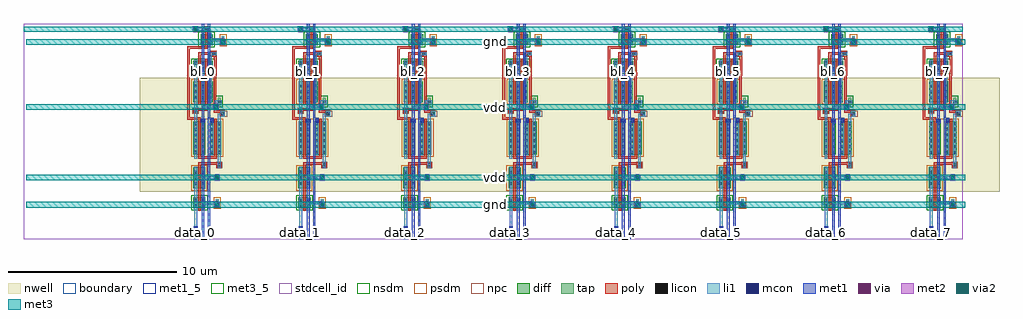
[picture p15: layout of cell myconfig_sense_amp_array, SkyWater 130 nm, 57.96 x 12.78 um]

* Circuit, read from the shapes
.subckt myconfig_sense_amp_array bl_0 bl_1 bl_2 bl_3 bl_4 bl_5 bl_6 bl_7 br_0 br_1 br_2 br_3 br_4 br_5 br_6 br_7 data_0 data_1 data_2 data_3 data_4 data_5 data_6 data_7 en gnd vdd
XM1 n1 n2 n3 gnd sky130_fd_pr__nfet_01v8 w=0.65 l=0.15
XM2 gnd n2 data_0 gnd sky130_fd_pr__nfet_01v8 w=0.65 l=0.15
XM3 n2 n3 n1 gnd sky130_fd_pr__nfet_01v8 w=0.65 l=0.15
XM4 gnd en n1 gnd sky130_fd_pr__nfet_01v8 w=0.65 l=0.15
XM5 n4 n5 n6 gnd sky130_fd_pr__nfet_01v8 w=0.65 l=0.15
XM6 gnd n5 data_1 gnd sky130_fd_pr__nfet_01v8 w=0.65 l=0.15
XM7 n5 n6 n4 gnd sky130_fd_pr__nfet_01v8 w=0.65 l=0.15
XM8 gnd en n4 gnd sky130_fd_pr__nfet_01v8 w=0.65 l=0.15
XM9 n7 n8 n9 gnd sky130_fd_pr__nfet_01v8 w=0.65 l=0.15
XM10 gnd n8 data_2 gnd sky130_fd_pr__nfet_01v8 w=0.65 l=0.15
XM11 n8 n9 n7 gnd sky130_fd_pr__nfet_01v8 w=0.65 l=0.15
XM12 gnd en n7 gnd sky130_fd_pr__nfet_01v8 w=0.65 l=0.15
XM13 n10 n11 n12 gnd sky130_fd_pr__nfet_01v8 w=0.65 l=0.15
XM14 gnd n11 data_3 gnd sky130_fd_pr__nfet_01v8 w=0.65 l=0.15
XM15 n11 n12 n10 gnd sky130_fd_pr__nfet_01v8 w=0.65 l=0.15
XM16 gnd en n10 gnd sky130_fd_pr__nfet_01v8 w=0.65 l=0.15
XM17 n13 n14 n15 gnd sky130_fd_pr__nfet_01v8 w=0.65 l=0.15
XM18 gnd n14 data_4 gnd sky130_fd_pr__nfet_01v8 w=0.65 l=0.15
XM19 n14 n15 n13 gnd sky130_fd_pr__nfet_01v8 w=0.65 l=0.15
XM20 gnd en n13 gnd sky130_fd_pr__nfet_01v8 w=0.65 l=0.15
XM21 n16 n17 n18 gnd sky130_fd_pr__nfet_01v8 w=0.65 l=0.15
XM22 gnd n17 data_5 gnd sky130_fd_pr__nfet_01v8 w=0.65 l=0.15
XM23 n17 n18 n16 gnd sky130_fd_pr__nfet_01v8 w=0.65 l=0.15
XM24 gnd en n16 gnd sky130_fd_pr__nfet_01v8 w=0.65 l=0.15
XM25 n19 n20 n21 gnd sky130_fd_pr__nfet_01v8 w=0.65 l=0.15
XM26 gnd n20 data_6 gnd sky130_fd_pr__nfet_01v8 w=0.65 l=0.15
XM27 n20 n21 n19 gnd sky130_fd_pr__nfet_01v8 w=0.65 l=0.15
XM28 gnd en n19 gnd sky130_fd_pr__nfet_01v8 w=0.65 l=0.15
XM29 n22 n23 n24 gnd sky130_fd_pr__nfet_01v8 w=0.65 l=0.15
XM30 gnd n23 data_7 gnd sky130_fd_pr__nfet_01v8 w=0.65 l=0.15
XM31 n23 n24 n22 gnd sky130_fd_pr__nfet_01v8 w=0.65 l=0.15
XM32 gnd en n22 gnd sky130_fd_pr__nfet_01v8 w=0.65 l=0.15
XM33 bl_0 en n3 vdd sky130_fd_pr__pfet_01v8 w=2 l=0.15
XM34 vdd n2 n3 vdd sky130_fd_pr__pfet_01v8 w=1.26 l=0.15
XM35 vdd n2 data_0 vdd sky130_fd_pr__pfet_01v8 w=1.26 l=0.15
XM36 n2 n3 vdd vdd sky130_fd_pr__pfet_01v8 w=1.26 l=0.15
XM37 n2 en br_0 vdd sky130_fd_pr__pfet_01v8 w=2 l=0.15
XM38 bl_1 en n6 vdd sky130_fd_pr__pfet_01v8 w=2 l=0.15
XM39 vdd n5 n6 vdd sky130_fd_pr__pfet_01v8 w=1.26 l=0.15
XM40 vdd n5 data_1 vdd sky130_fd_pr__pfet_01v8 w=1.26 l=0.15
XM41 n5 n6 vdd vdd sky130_fd_pr__pfet_01v8 w=1.26 l=0.15
XM42 n5 en br_1 vdd sky130_fd_pr__pfet_01v8 w=2 l=0.15
XM43 bl_2 en n9 vdd sky130_fd_pr__pfet_01v8 w=2 l=0.15
XM44 vdd n8 n9 vdd sky130_fd_pr__pfet_01v8 w=1.26 l=0.15
XM45 vdd n8 data_2 vdd sky130_fd_pr__pfet_01v8 w=1.26 l=0.15
XM46 n8 n9 vdd vdd sky130_fd_pr__pfet_01v8 w=1.26 l=0.15
XM47 n8 en br_2 vdd sky130_fd_pr__pfet_01v8 w=2 l=0.15
XM48 bl_3 en n12 vdd sky130_fd_pr__pfet_01v8 w=2 l=0.15
XM49 vdd n11 n12 vdd sky130_fd_pr__pfet_01v8 w=1.26 l=0.15
XM50 vdd n11 data_3 vdd sky130_fd_pr__pfet_01v8 w=1.26 l=0.15
XM51 n11 n12 vdd vdd sky130_fd_pr__pfet_01v8 w=1.26 l=0.15
XM52 n11 en br_3 vdd sky130_fd_pr__pfet_01v8 w=2 l=0.15
XM53 bl_4 en n15 vdd sky130_fd_pr__pfet_01v8 w=2 l=0.15
XM54 vdd n14 n15 vdd sky130_fd_pr__pfet_01v8 w=1.26 l=0.15
XM55 vdd n14 data_4 vdd sky130_fd_pr__pfet_01v8 w=1.26 l=0.15
XM56 n14 n15 vdd vdd sky130_fd_pr__pfet_01v8 w=1.26 l=0.15
XM57 n14 en br_4 vdd sky130_fd_pr__pfet_01v8 w=2 l=0.15
XM58 bl_5 en n18 vdd sky130_fd_pr__pfet_01v8 w=2 l=0.15
XM59 vdd n17 n18 vdd sky130_fd_pr__pfet_01v8 w=1.26 l=0.15
XM60 vdd n17 data_5 vdd sky130_fd_pr__pfet_01v8 w=1.26 l=0.15
XM61 n17 n18 vdd vdd sky130_fd_pr__pfet_01v8 w=1.26 l=0.15
XM62 n17 en br_5 vdd sky130_fd_pr__pfet_01v8 w=2 l=0.15
XM63 bl_6 en n21 vdd sky130_fd_pr__pfet_01v8 w=2 l=0.15
XM64 vdd n20 n21 vdd sky130_fd_pr__pfet_01v8 w=1.26 l=0.15
XM65 vdd n20 data_6 vdd sky130_fd_pr__pfet_01v8 w=1.26 l=0.15
XM66 n20 n21 vdd vdd sky130_fd_pr__pfet_01v8 w=1.26 l=0.15
XM67 n20 en br_6 vdd sky130_fd_pr__pfet_01v8 w=2 l=0.15
XM68 bl_7 en n24 vdd sky130_fd_pr__pfet_01v8 w=2 l=0.15
XM69 vdd n23 n24 vdd sky130_fd_pr__pfet_01v8 w=1.26 l=0.15
XM70 vdd n23 data_7 vdd sky130_fd_pr__pfet_01v8 w=1.26 l=0.15
XM71 n23 n24 vdd vdd sky130_fd_pr__pfet_01v8 w=1.26 l=0.15
XM72 n23 en br_7 vdd sky130_fd_pr__pfet_01v8 w=2 l=0.15
.ends

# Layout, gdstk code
import gdstk
lib = gdstk.Library(unit=1e-6, precision=1e-09)
def R(c, l, rs):  # rectangles x0, y0, x1, y1
    for r in rs: c.add(gdstk.rectangle(r[:2], r[2:], *l))
def A(c, l, x, y, w, h, nx, ny, dx, dy):  # array of equal rectangles
    R(c, l, [(x+i*dx, y+j*dy, x+i*dx+w, y+j*dy+h) for i in range(nx) for j in range(ny)])
nwell = (64, 20)
diff = (65, 20)
tap = (65, 44)
poly = (66, 20)
licon = (66, 44)
li1 = (67, 20)
mcon = (67, 44)
met1_5 = (68, 5)
met1 = (68, 20)
via = (68, 44)
met2 = (69, 20)
via2 = (69, 44)
met3_5 = (70, 5)
met3 = (70, 20)
stdcell_id = (81, 4)
nsdm = (93, 44)
psdm = (94, 20)
npc = (95, 20)
boundary = (235, 4)

sky130_fd_bd_sram__openr = lib.new_cell('sky130_fd_bd_sram__openram_sense_amp')
R(sky130_fd_bd_sram__openr, nwell, [(-2.705,2.82,4.685,9.57)])
R(sky130_fd_bd_sram__openr, diff, [(0.49,1.83,1.21,2.48), (0.49,3.01,1.2,4.27), (0.5,5.01,1.19,7.01), (1.46,5.01,2.15,7.01), (0.5,8.12,1.63,9.38), (0.48,9.945,1.65,10.595), (0.92,11.525,1.65,12.175)])
R(sky130_fd_bd_sram__openr, tap, [(1.82,1.915,1.99,2.375), (1.94,7.95,2.11,8.38), (2.17,11.585,2.34,12.045)])
R(sky130_fd_bd_sram__openr, poly, [(0.78,1.68,0.93,4.42), (1.89,4.24,2.16,4.42), (0.78,4.42,2.16,4.57), (0.77,4.78,1.88,4.93), (0.77,4.93,0.92,7.09), (1.73,4.93,1.88,7.14), (0.13,7.09,0.92,7.24), (0.13,7.24,0.28,11.295), (2.15,7.28,2.37,7.29), (2.1,7.29,2.37,7.51), (0.54,7.45,0.71,7.48), (0.49,7.48,0.76,7.63), (1.71,7.51,2.37,7.66), (0.49,7.63,1.36,7.78), (1.71,7.66,1.86,9.71), (1.21,7.78,1.36,10.725), (0.77,7.99,0.92,10.935), (1.71,9.71,1.88,9.88), (1.725,9.88,1.875,10.64), (1.71,10.64,1.88,10.81), (1.71,10.81,1.86,10.865), (1.53,10.865,1.86,10.935), (0.77,10.935,1.86,11.085), (1.53,11.085,1.86,11.135), (0.13,11.295,1.36,11.445), (1.21,11.445,1.36,12.3), (1.2,12.3,1.37,12.33), (1.15,12.33,1.42,12.6), (1.2,12.6,1.37,12.63)])
A(sky130_fd_bd_sram__openr, licon, 0.55, 3.215, 0.17, 0.17, 1, 3, 0, 0.34)
A(sky130_fd_bd_sram__openr, licon, 0.99, 3.215, 0.17, 0.17, 1, 3, 0, 0.34)
A(sky130_fd_bd_sram__openr, licon, 0.54, 5.075, 0.17, 0.17, 1, 6, 0, 0.34)
A(sky130_fd_bd_sram__openr, licon, 0.98, 5.075, 0.17, 0.17, 1, 6, 0, 0.34)
A(sky130_fd_bd_sram__openr, licon, 1.5, 5.075, 0.17, 0.17, 1, 6, 0, 0.34)
A(sky130_fd_bd_sram__openr, licon, 1.94, 5.075, 0.17, 0.17, 1, 6, 0, 0.34)
A(sky130_fd_bd_sram__openr, licon, 0.54, 8.325, 0.17, 0.17, 3, 3, 0.44, 0.34)
A(sky130_fd_bd_sram__openr, licon, 0.54, 10.025, 0.17, 0.17, 3, 2, 0.44, 0.34)
R(sky130_fd_bd_sram__openr, licon, [(0.55,1.9,0.72,2.07), (0.99,1.9,1.16,2.07), (1.82,2.085,1.99,2.255), (0.55,2.24,0.72,2.41), (0.99,2.24,1.16,2.41), (1.94,4.32,2.11,4.49), (2.15,7.36,2.32,7.53), (0.54,7.53,0.71,7.7), (1.94,8.07,2.11,8.24), (1.61,10.915,1.78,11.085), (0.98,11.59,1.15,11.76), (1.42,11.6,1.59,11.77), (2.17,11.755,2.34,11.925), (0.98,11.93,1.15,12.1), (1.42,11.94,1.59,12.11), (1.2,12.38,1.37,12.55)])
R(sky130_fd_bd_sram__openr, li1, [(0.55,0.475,0.72,4.29), (0.98,1.8,1.16,2.08), (1.82,1.915,1.99,2.08), (0.98,2.08,1.99,2.26), (0.98,2.26,1.16,2.5), (1.82,2.26,1.99,2.335), (0.99,2.99,1.16,3.56), (0.99,3.56,1.99,3.73), (0.99,3.73,1.16,4.29), (1.94,4.24,2.11,7.28), (0.54,4.78,0.71,10.65), (0.98,4.97,1.15,7.12), (1.5,4.99,1.67,7.15), (1.94,7.28,2.37,7.45), (2.1,7.45,2.37,7.61), (0.98,7.76,1.93,7.93), (0.98,7.93,1.15,9.4), (1.76,7.93,1.93,8.07), (1.76,8.07,2.19,8.24), (1.42,8.1,1.59,10.915), (0.98,9.925,1.15,12.21), (1.42,10.915,1.87,11.085), (1.42,11.505,1.59,11.755), (2.17,11.585,2.34,11.755), (1.42,11.755,2.34,11.925), (1.42,11.925,1.59,12.21), (2.17,11.925,2.34,12.005), (0.53,12.38,1.45,12.55), (0.53,12.55,0.7,12.56)])
R(sky130_fd_bd_sram__openr, mcon, [(0.55,0.52,0.72,0.69), (1.82,1.915,1.99,2.085), (1.82,3.56,1.99,3.73), (0.98,6.95,1.15,7.12), (1.5,6.98,1.67,7.15), (1.76,7.76,1.93,7.93), (2.17,11.585,2.34,11.755), (0.53,12.385,0.7,12.555)])
R(sky130_fd_bd_sram__openr, met1_5, [(0.52,0,0.75,0.75), (1.79,1.855,2.02,2.225), (1.79,3.46,2.02,3.84), (0.98,7.15,1.15,12.78), (1.36,7.21,1.5,12.78), (1.69,7.67,2,8.01), (2.14,11.525,2.37,11.895), (0.47,12.32,0.76,12.62)])
R(sky130_fd_bd_sram__openr, met1, [(0.52,0,0.75,0.75), (0.52,0,0.75,0.75), (0.98,0,1.15,6.92), (1.36,0,1.5,6.92), (1.79,1.855,2.02,2.225), (1.79,1.855,2.02,2.225), (1.79,3.46,2.02,3.84), (1.79,3.46,2.02,3.84), (0.92,6.92,1.21,7.15), (1.36,6.92,1.7,7.21), (0.98,7.15,1.15,12.78), (0.98,7.15,1.15,12.78), (1.36,7.21,1.5,12.78), (1.36,7.21,1.5,12.78), (1.69,7.67,2,8.01), (1.69,7.67,2,8.01), (2.14,11.525,2.37,11.895), (2.14,11.525,2.37,11.895), (0.47,12.32,0.76,12.62), (0.47,12.32,0.76,12.62)])
R(sky130_fd_bd_sram__openr, nsdm, [(0.365,1.705,1.335,2.605), (1.815,7.825,2.235,8.505), (0.355,9.82,1.775,10.72), (0.795,11.4,1.775,12.3)])
R(sky130_fd_bd_sram__openr, psdm, [(1.695,1.79,2.115,2.5), (0.365,2.885,1.325,4.395), (0.375,4.885,2.275,7.135), (0.375,7.995,1.755,9.505), (2.045,11.46,2.465,12.17)])
R(sky130_fd_bd_sram__openr, npc, [(1.84,4.22,2.21,4.59), (2.05,7.26,2.5,7.63), (0.44,7.43,0.81,7.8), (1.51,10.815,1.88,11.185), (1.1,12.28,1.47,12.65)])
R(sky130_fd_bd_sram__openr, boundary, [(0,0,2.5,12.78)])
sky130_fd_bd_sram__openr.add(gdstk.Label('DOUT', (0.61,0.285), layer=68, texttype=5))
sky130_fd_bd_sram__openr.add(gdstk.Label('BL', (1.07,12.74), layer=68, texttype=5))
sky130_fd_bd_sram__openr.add(gdstk.Label('BR', (1.43,12.73), layer=68, texttype=5))
sky130_fd_bd_sram__openr.add(gdstk.Label('EN', (0.5,12.45), layer=68, texttype=5))
sky130_fd_bd_sram__openr.add(gdstk.Label('GND', (2.25,11.555), layer=68, texttype=5))
sky130_fd_bd_sram__openr.add(gdstk.Label('GND', (1.9,1.885), layer=68, texttype=5))
sky130_fd_bd_sram__openr.add(gdstk.Label('VDD', (1.97,7.84), layer=68, texttype=5))
sky130_fd_bd_sram__openr.add(gdstk.Label('VDD', (1.89,3.5), layer=68, texttype=5))
sky130_fd_bd_sram__openr.add(gdstk.Label('bl', (1.065,9.965), layer=68, texttype=5))
sky130_fd_bd_sram__openr.add(gdstk.Label('br', (1.43,9.995), layer=68, texttype=5))
sky130_fd_bd_sram__openr.add(gdstk.Label('dout', (0.635,0.375), layer=68, texttype=5))
sky130_fd_bd_sram__openr.add(gdstk.Label('en', (0.615,12.47), layer=68, texttype=5))
sky130_fd_bd_sram__openr.add(gdstk.Label('vdd', (1.845,7.84), layer=68, texttype=5))
sky130_fd_bd_sram__openr.add(gdstk.Label('vdd', (1.905,3.65), layer=68, texttype=5))
sky130_fd_bd_sram__openr.add(gdstk.Label('gnd', (2.255,11.71), layer=68, texttype=5))
sky130_fd_bd_sram__openr.add(gdstk.Label('gnd', (1.905,2.04), layer=68, texttype=5))

myconfig_contact_18 = lib.new_cell('myconfig_contact_18')
R(myconfig_contact_18, met1, [(0,0.03,0.32,0.29)])
R(myconfig_contact_18, via, [(0.085,0.085,0.235,0.235)])
R(myconfig_contact_18, met2, [(0.03,0,0.29,0.32)])
R(myconfig_contact_18, stdcell_id, [(0,0,0.32,0.32)])
R(myconfig_contact_18, boundary, [(0,0,0.32,0.32)])

myconfig_contact_21 = lib.new_cell('myconfig_contact_21')
R(myconfig_contact_21, met2, [(0.025,0,0.305,0.37)])
R(myconfig_contact_21, via2, [(0.065,0.085,0.265,0.285)])
R(myconfig_contact_21, met3, [(0,0.02,0.33,0.35)])
R(myconfig_contact_21, stdcell_id, [(0,0,0.33,0.37)])
R(myconfig_contact_21, boundary, [(0,0,0.33,0.37)])

myconfig_sense_amp_array = lib.new_cell('myconfig_sense_amp_array')
A(myconfig_sense_amp_array, met1_5, 10.115, 0, 0.23, 0.75, 8, 1, 6.24, 0)
A(myconfig_sense_amp_array, met1_5, 10.575, 7.15, 0.17, 5.63, 8, 1, 6.24, 0)
A(myconfig_sense_amp_array, met1_5, 10.955, 7.21, 0.14, 5.57, 8, 1, 6.24, 0)
A(myconfig_sense_amp_array, met1, 10.115, 0, 0.23, 0.75, 8, 1, 6.24, 0)
A(myconfig_sense_amp_array, met1, 11.34, 1.91, 0.32, 0.26, 8, 2, 6.24, 1.61)
A(myconfig_sense_amp_array, met1, 10.575, 7.15, 0.17, 5.63, 8, 1, 6.24, 0)
A(myconfig_sense_amp_array, met1, 10.955, 7.21, 0.14, 5.57, 8, 1, 6.24, 0)
A(myconfig_sense_amp_array, met1, 11.28, 7.71, 0.32, 0.26, 8, 1, 6.24, 0)
A(myconfig_sense_amp_array, met1, 11.69, 11.58, 0.32, 0.26, 8, 1, 6.24, 0)
A(myconfig_sense_amp_array, met1, 10.05, 12.34, 0.32, 0.26, 8, 1, 6.24, 0)
A(myconfig_sense_amp_array, met2, 11.36, 1.92, 0.28, 0.24, 8, 2, 6.24, 1.61)
A(myconfig_sense_amp_array, met2, 11.3, 7.72, 0.28, 0.24, 8, 1, 6.24, 0)
A(myconfig_sense_amp_array, met2, 11.71, 11.59, 0.28, 0.24, 8, 1, 6.24, 0)
A(myconfig_sense_amp_array, met2, 10.07, 12.35, 0.28, 0.24, 8, 1, 6.24, 0)
R(myconfig_sense_amp_array, met3_5, [(0.165,1.875,55.94,2.205), (0.165,3.485,55.94,3.815), (0.165,7.675,55.94,8.005), (0.165,11.545,55.94,11.875), (0,12.32,55.775,12.62)])
R(myconfig_sense_amp_array, met3, [(0.165,1.875,55.94,2.205), (0.165,3.485,55.94,3.815), (0.165,7.675,55.94,8.005), (0.165,11.545,55.94,11.875), (0,12.32,55.775,12.62)])
R(myconfig_sense_amp_array, stdcell_id, [(0,0,55.775,12.78)])
R(myconfig_sense_amp_array, boundary, [(0,0,55.775,12.78)])
myconfig_sense_amp_array.add(gdstk.Reference(sky130_fd_bd_sram__openr, (9.595,0)))
myconfig_sense_amp_array.add(gdstk.Reference(sky130_fd_bd_sram__openr, (15.835,0)))
myconfig_sense_amp_array.add(gdstk.Reference(sky130_fd_bd_sram__openr, (22.075,0)))
myconfig_sense_amp_array.add(gdstk.Reference(sky130_fd_bd_sram__openr, (28.315,0)))
myconfig_sense_amp_array.add(gdstk.Reference(sky130_fd_bd_sram__openr, (34.555,0)))
myconfig_sense_amp_array.add(gdstk.Reference(sky130_fd_bd_sram__openr, (40.795,0)))
myconfig_sense_amp_array.add(gdstk.Reference(sky130_fd_bd_sram__openr, (47.035,0)))
myconfig_sense_amp_array.add(gdstk.Reference(sky130_fd_bd_sram__openr, (53.275,0)))
myconfig_sense_amp_array.add(gdstk.Reference(myconfig_contact_18, (11.28,7.68)))
myconfig_sense_amp_array.add(gdstk.Reference(myconfig_contact_21, (11.275,7.655)))
myconfig_sense_amp_array.add(gdstk.Reference(myconfig_contact_18, (17.52,7.68)))
myconfig_sense_amp_array.add(gdstk.Reference(myconfig_contact_21, (17.515,7.655)))
myconfig_sense_amp_array.add(gdstk.Reference(myconfig_contact_18, (23.76,7.68)))
myconfig_sense_amp_array.add(gdstk.Reference(myconfig_contact_21, (23.755,7.655)))
myconfig_sense_amp_array.add(gdstk.Reference(myconfig_contact_18, (30,7.68)))
myconfig_sense_amp_array.add(gdstk.Reference(myconfig_contact_21, (29.995,7.655)))
myconfig_sense_amp_array.add(gdstk.Reference(myconfig_contact_18, (36.24,7.68)))
myconfig_sense_amp_array.add(gdstk.Reference(myconfig_contact_21, (36.235,7.655)))
myconfig_sense_amp_array.add(gdstk.Reference(myconfig_contact_18, (42.48,7.68)))
myconfig_sense_amp_array.add(gdstk.Reference(myconfig_contact_21, (42.475,7.655)))
myconfig_sense_amp_array.add(gdstk.Reference(myconfig_contact_18, (48.72,7.68)))
myconfig_sense_amp_array.add(gdstk.Reference(myconfig_contact_21, (48.715,7.655)))
myconfig_sense_amp_array.add(gdstk.Reference(myconfig_contact_18, (54.96,7.68)))
myconfig_sense_amp_array.add(gdstk.Reference(myconfig_contact_21, (54.955,7.655)))
myconfig_sense_amp_array.add(gdstk.Reference(myconfig_contact_18, (11.34,3.49)))
myconfig_sense_amp_array.add(gdstk.Reference(myconfig_contact_21, (11.335,3.465)))
myconfig_sense_amp_array.add(gdstk.Reference(myconfig_contact_18, (17.58,3.49)))
myconfig_sense_amp_array.add(gdstk.Reference(myconfig_contact_21, (17.575,3.465)))
myconfig_sense_amp_array.add(gdstk.Reference(myconfig_contact_18, (23.82,3.49)))
myconfig_sense_amp_array.add(gdstk.Reference(myconfig_contact_21, (23.815,3.465)))
myconfig_sense_amp_array.add(gdstk.Reference(myconfig_contact_18, (30.06,3.49)))
myconfig_sense_amp_array.add(gdstk.Reference(myconfig_contact_21, (30.055,3.465)))
myconfig_sense_amp_array.add(gdstk.Reference(myconfig_contact_18, (36.3,3.49)))
myconfig_sense_amp_array.add(gdstk.Reference(myconfig_contact_21, (36.295,3.465)))
myconfig_sense_amp_array.add(gdstk.Reference(myconfig_contact_18, (42.54,3.49)))
myconfig_sense_amp_array.add(gdstk.Reference(myconfig_contact_21, (42.535,3.465)))
myconfig_sense_amp_array.add(gdstk.Reference(myconfig_contact_18, (48.78,3.49)))
myconfig_sense_amp_array.add(gdstk.Reference(myconfig_contact_21, (48.775,3.465)))
myconfig_sense_amp_array.add(gdstk.Reference(myconfig_contact_18, (55.02,3.49)))
myconfig_sense_amp_array.add(gdstk.Reference(myconfig_contact_21, (55.015,3.465)))
myconfig_sense_amp_array.add(gdstk.Reference(myconfig_contact_18, (11.69,11.55)))
myconfig_sense_amp_array.add(gdstk.Reference(myconfig_contact_21, (11.685,11.525)))
myconfig_sense_amp_array.add(gdstk.Reference(myconfig_contact_18, (17.93,11.55)))
myconfig_sense_amp_array.add(gdstk.Reference(myconfig_contact_21, (17.925,11.525)))
myconfig_sense_amp_array.add(gdstk.Reference(myconfig_contact_18, (24.17,11.55)))
myconfig_sense_amp_array.add(gdstk.Reference(myconfig_contact_21, (24.165,11.525)))
myconfig_sense_amp_array.add(gdstk.Reference(myconfig_contact_18, (30.41,11.55)))
myconfig_sense_amp_array.add(gdstk.Reference(myconfig_contact_21, (30.405,11.525)))
myconfig_sense_amp_array.add(gdstk.Reference(myconfig_contact_18, (36.65,11.55)))
myconfig_sense_amp_array.add(gdstk.Reference(myconfig_contact_21, (36.645,11.525)))
myconfig_sense_amp_array.add(gdstk.Reference(myconfig_contact_18, (42.89,11.55)))
myconfig_sense_amp_array.add(gdstk.Reference(myconfig_contact_21, (42.885,11.525)))
myconfig_sense_amp_array.add(gdstk.Reference(myconfig_contact_18, (49.13,11.55)))
myconfig_sense_amp_array.add(gdstk.Reference(myconfig_contact_21, (49.125,11.525)))
myconfig_sense_amp_array.add(gdstk.Reference(myconfig_contact_18, (55.37,11.55)))
myconfig_sense_amp_array.add(gdstk.Reference(myconfig_contact_21, (55.365,11.525)))
myconfig_sense_amp_array.add(gdstk.Reference(myconfig_contact_18, (11.34,1.88)))
myconfig_sense_amp_array.add(gdstk.Reference(myconfig_contact_21, (11.335,1.855)))
myconfig_sense_amp_array.add(gdstk.Reference(myconfig_contact_18, (17.58,1.88)))
myconfig_sense_amp_array.add(gdstk.Reference(myconfig_contact_21, (17.575,1.855)))
myconfig_sense_amp_array.add(gdstk.Reference(myconfig_contact_18, (23.82,1.88)))
myconfig_sense_amp_array.add(gdstk.Reference(myconfig_contact_21, (23.815,1.855)))
myconfig_sense_amp_array.add(gdstk.Reference(myconfig_contact_18, (30.06,1.88)))
myconfig_sense_amp_array.add(gdstk.Reference(myconfig_contact_21, (30.055,1.855)))
myconfig_sense_amp_array.add(gdstk.Reference(myconfig_contact_18, (36.3,1.88)))
myconfig_sense_amp_array.add(gdstk.Reference(myconfig_contact_21, (36.295,1.855)))
myconfig_sense_amp_array.add(gdstk.Reference(myconfig_contact_18, (42.54,1.88)))
myconfig_sense_amp_array.add(gdstk.Reference(myconfig_contact_21, (42.535,1.855)))
myconfig_sense_amp_array.add(gdstk.Reference(myconfig_contact_18, (48.78,1.88)))
myconfig_sense_amp_array.add(gdstk.Reference(myconfig_contact_21, (48.775,1.855)))
myconfig_sense_amp_array.add(gdstk.Reference(myconfig_contact_18, (55.02,1.88)))
myconfig_sense_amp_array.add(gdstk.Reference(myconfig_contact_21, (55.015,1.855)))
myconfig_sense_amp_array.add(gdstk.Reference(myconfig_contact_18, (10.05,12.31)))
myconfig_sense_amp_array.add(gdstk.Reference(myconfig_contact_21, (10.045,12.285)))
myconfig_sense_amp_array.add(gdstk.Reference(myconfig_contact_18, (16.29,12.31)))
myconfig_sense_amp_array.add(gdstk.Reference(myconfig_contact_21, (16.285,12.285)))
myconfig_sense_amp_array.add(gdstk.Reference(myconfig_contact_18, (22.53,12.31)))
myconfig_sense_amp_array.add(gdstk.Reference(myconfig_contact_21, (22.525,12.285)))
myconfig_sense_amp_array.add(gdstk.Reference(myconfig_contact_18, (28.77,12.31)))
myconfig_sense_amp_array.add(gdstk.Reference(myconfig_contact_21, (28.765,12.285)))
myconfig_sense_amp_array.add(gdstk.Reference(myconfig_contact_18, (35.01,12.31)))
myconfig_sense_amp_array.add(gdstk.Reference(myconfig_contact_21, (35.005,12.285)))
myconfig_sense_amp_array.add(gdstk.Reference(myconfig_contact_18, (41.25,12.31)))
myconfig_sense_amp_array.add(gdstk.Reference(myconfig_contact_21, (41.245,12.285)))
myconfig_sense_amp_array.add(gdstk.Reference(myconfig_contact_18, (47.49,12.31)))
myconfig_sense_amp_array.add(gdstk.Reference(myconfig_contact_21, (47.485,12.285)))
myconfig_sense_amp_array.add(gdstk.Reference(myconfig_contact_18, (53.73,12.31)))
myconfig_sense_amp_array.add(gdstk.Reference(myconfig_contact_21, (53.725,12.285)))
myconfig_sense_amp_array.add(gdstk.Label('bl_0', (10.66,9.965), layer=68, texttype=5))
myconfig_sense_amp_array.add(gdstk.Label('br_0', (11.025,9.995), layer=68, texttype=5))
myconfig_sense_amp_array.add(gdstk.Label('data_0', (10.23,0.375), layer=68, texttype=5))
myconfig_sense_amp_array.add(gdstk.Label('bl_1', (16.9,9.965), layer=68, texttype=5))
myconfig_sense_amp_array.add(gdstk.Label('br_1', (17.265,9.995), layer=68, texttype=5))
myconfig_sense_amp_array.add(gdstk.Label('data_1', (16.47,0.375), layer=68, texttype=5))
myconfig_sense_amp_array.add(gdstk.Label('bl_2', (23.14,9.965), layer=68, texttype=5))
myconfig_sense_amp_array.add(gdstk.Label('br_2', (23.505,9.995), layer=68, texttype=5))
myconfig_sense_amp_array.add(gdstk.Label('data_2', (22.71,0.375), layer=68, texttype=5))
myconfig_sense_amp_array.add(gdstk.Label('bl_3', (29.38,9.965), layer=68, texttype=5))
myconfig_sense_amp_array.add(gdstk.Label('br_3', (29.745,9.995), layer=68, texttype=5))
myconfig_sense_amp_array.add(gdstk.Label('data_3', (28.95,0.375), layer=68, texttype=5))
myconfig_sense_amp_array.add(gdstk.Label('bl_4', (35.62,9.965), layer=68, texttype=5))
myconfig_sense_amp_array.add(gdstk.Label('br_4', (35.985,9.995), layer=68, texttype=5))
myconfig_sense_amp_array.add(gdstk.Label('data_4', (35.19,0.375), layer=68, texttype=5))
myconfig_sense_amp_array.add(gdstk.Label('bl_5', (41.86,9.965), layer=68, texttype=5))
myconfig_sense_amp_array.add(gdstk.Label('br_5', (42.225,9.995), layer=68, texttype=5))
myconfig_sense_amp_array.add(gdstk.Label('data_5', (41.43,0.375), layer=68, texttype=5))
myconfig_sense_amp_array.add(gdstk.Label('bl_6', (48.1,9.965), layer=68, texttype=5))
myconfig_sense_amp_array.add(gdstk.Label('br_6', (48.465,9.995), layer=68, texttype=5))
myconfig_sense_amp_array.add(gdstk.Label('data_6', (47.67,0.375), layer=68, texttype=5))
myconfig_sense_amp_array.add(gdstk.Label('bl_7', (54.34,9.965), layer=68, texttype=5))
myconfig_sense_amp_array.add(gdstk.Label('br_7', (54.705,9.995), layer=68, texttype=5))
myconfig_sense_amp_array.add(gdstk.Label('data_7', (53.91,0.375), layer=68, texttype=5))
myconfig_sense_amp_array.add(gdstk.Label('vdd', (28.052,3.65), layer=70, texttype=5))
myconfig_sense_amp_array.add(gdstk.Label('vdd', (28.052,7.84), layer=70, texttype=5))
myconfig_sense_amp_array.add(gdstk.Label('gnd', (28.052,2.04), layer=70, texttype=5))
myconfig_sense_amp_array.add(gdstk.Label('gnd', (28.052,11.71), layer=70, texttype=5))
myconfig_sense_amp_array.add(gdstk.Label('en', (27.888,12.47), layer=70, texttype=5))

lib.write_gds('myconfig_sense_amp_array.gds')
